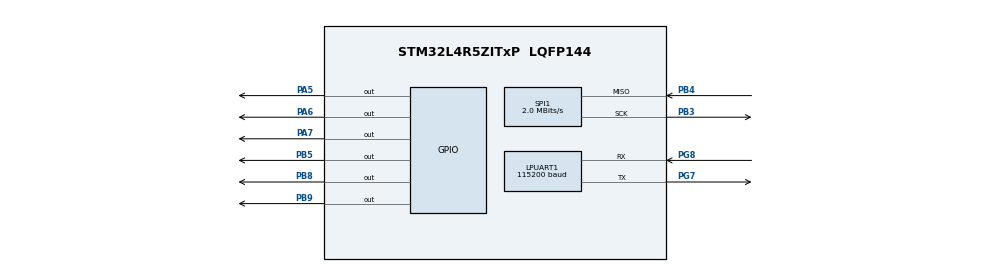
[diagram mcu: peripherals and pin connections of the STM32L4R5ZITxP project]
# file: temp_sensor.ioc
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LPUART1.BaudRate=115200
LPUART1.WordLength=UART_WORDLENGTH_8B
Mcu.Family=STM32L4
Mcu.Name=STM32L4R5ZITxP
Mcu.Package=LQFP144
NVIC.PriorityGroup=NVIC_PRIORITYGROUP_4
NVIC.TIM3_IRQn=true\:0\:0\:false\:false\:true\:true\:true\:true
PA0.Signal=S_TIM2_CH1
PA1.Signal=ADCx_IN6
PA10.Signal=USB_OTG_FS_ID
PA13\ (JTMS/SWDIO).Signal=SYS_JTMS-SWDIO
PA14\ (JTCK/SWCLK).Signal=SYS_JTCK-SWCLK
PA3.Signal=ADCx_IN8
PA4.Signal=SPI1_NSS
PA5.Signal=GPIO_Output
PA6.Signal=GPIO_Output
PA7.Signal=GPIO_Output
PA8.Signal=USB_OTG_FS_SOF
PA9.Signal=USB_OTG_FS_VBUS
PB0.Signal=S_TIM3_CH3
PB1.Signal=ADCx_IN16
PB10.Signal=S_TIM2_CH3
PB12.Signal=SAI2_FS_A
PB14.Signal=S_TIM15_CH1
PB15.Signal=SAI2_SD_A
PB2.Signal=COMP1_INP
PB3\ (JTDO/TRACESWO).Mode=RX_Only_Simplex_Unidirect_Master
PB3\ (JTDO/TRACESWO).Signal=SPI1_SCK
PB4\ (NJTRST).Mode=RX_Only_Simplex_Unidirect_Master
PB4\ (NJTRST).Signal=SPI1_MISO
PB5.Signal=GPIO_Output
PB8.Signal=GPIO_Output
PB9.Signal=GPIO_Output
PC0.Signal=ADCx_IN1
PC13.Signal=SYS_WKUP2
PC14-OSC32_IN\ (PC14).Signal=RCC_OSC32_IN
PC15-OSC32_OUT\ (PC15).Signal=RCC_OSC32_OUT
PC2.Signal=SPI2_MISO
PC4.Signal=ADCx_IN13
PC5.Signal=ADCx_IN14
PC6.Signal=SAI2_MCLK_A
PC7.Signal=S_TIM3_CH2
PC8.Signal=SDMMC1_D0
PC9.Signal=SDMMC1_D1
PD0.Signal=CAN1_RX
PD14.Signal=S_TIM4_CH3
PD15.Signal=S_TIM4_CH4
PD2.Signal=SDMMC1_CMD
PD3.Signal=USART2_CTS
PD4.Signal=USART2_RTS
PD5.Signal=USART2_TX
PD6.Signal=USART2_RX
PD8.Signal=USART3_TX
PD9.Signal=USART3_RX
PE0.Signal=S_TIM4_ETR
PE10.Signal=TIM1_CH2N
PE11.Signal=S_TIM1_CH2
PE12.Signal=TIM1_CH3N
PE13.Signal=S_TIM1_CH3
PE14.Signal=TIM1_BKIN2
PE15.Signal=TIM1_BKIN
PE2.Signal=SAI1_MCLK_A
PE3.Signal=SAI1_SD_B
PE7.Signal=S_TIM1_ETR
PE8.Signal=TIM1_CH1N
PE9.Signal=S_TIM1_CH1
PF0.Signal=I2C2_SDA
PF1.Signal=I2C2_SCL
PF2.Signal=I2C2_SMBA
PF7.Signal=SAI1_MCLK_B
PG7.Mode=Asynchronous
PG7.Signal=LPUART1_TX
PG8.Mode=Asynchronous
PG8.Signal=LPUART1_RX
ProjectManager.HeapSize=0x200
ProjectManager.StackSize=0x400
ProjectManager.TargetToolchain=STM32CubeIDE
RCC.HSE_VALUE=8000000
RCC.HSI48_VALUE=48000000
RCC.HSI_VALUE=16000000
RCC.LSE_VALUE=32768
RCC.MSI_VALUE=4000000
RCC.VCOOutputFreq_Value=32000000
SH.ADCx_IN1.0=ADC1_IN1
SH.ADCx_IN13.0=ADC1_IN13
SH.ADCx_IN14.0=ADC1_IN14
SH.ADCx_IN16.0=ADC1_IN16
SH.ADCx_IN6.0=ADC1_IN6
SH.ADCx_IN8.0=ADC1_IN8
SH.S_TIM15_CH1.0=TIM15_CH1
SH.S_TIM1_CH1.0=TIM1_CH1
SH.S_TIM1_CH2.0=TIM1_CH2
SH.S_TIM1_CH3.0=TIM1_CH3
SH.S_TIM1_ETR.0=TIM1_ETR
SH.S_TIM2_CH1.0=TIM2_CH1
SH.S_TIM2_CH3.0=TIM2_CH3
SH.S_TIM3_CH2.0=TIM3_CH2
SH.S_TIM3_CH3.0=TIM3_CH3
SH.S_TIM4_CH3.0=TIM4_CH3
SH.S_TIM4_CH4.0=TIM4_CH4
SH.S_TIM4_ETR.0=TIM4_ETR
SPI1.CalculateBaudRate=2.0 MBits/s
SPI1.DataSize=SPI_DATASIZE_16BIT
SPI1.Direction=SPI_DIRECTION_2LINES_RXONLY
SPI1.Mode=SPI_MODE_MASTER
SPI1.VirtualType=VM_MASTER
TIM3.Period=305
TIM3.Prescaler=65535
VP_TIM3_VS_ClockSourceINT.Mode=Internal
board=NUCLEO-L4R5ZI-P

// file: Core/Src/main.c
/* USER CODE BEGIN Header */
/**
  ******************************************************************************
  * @file           : main.c
  * @brief          : Main program body
  ******************************************************************************
  * @attention
  *
  * Copyright (c) 2023 STMicroelectronics.
  * All rights reserved.
  *
  * This software is licensed under terms that can be found in the LICENSE file
  * in the root directory of this software component.
  * If no LICENSE file comes with this software, it is provided AS-IS.
  *
  ******************************************************************************
  */
/* USER CODE END Header */
#include "main.h"

/* USER CODE BEGIN Includes */
#include "stdio.h"
/* USER CODE END Includes */

UART_HandleTypeDef hlpuart1;

SPI_HandleTypeDef hspi1;

TIM_HandleTypeDef htim3;

void SystemClock_Config(void);
static void MX_GPIO_Init(void);
static void MX_SPI1_Init(void);
static void MX_LPUART1_UART_Init(void);
static void MX_TIM3_Init(void);

/* USER CODE BEGIN 0 */
uint16_t read_Temperature(uint16_t GPIO_PIN) {
	uint16_t spi_buf[2];
	// Set the CS1 pin to low
	HAL_GPIO_WritePin(GPIOB, GPIO_PIN, GPIO_PIN_RESET);

	// Receive the data
	HAL_SPI_Receive(&hspi1, spi_buf, 2, 100);

	// Set the CS pin back to high
	HAL_GPIO_WritePin(GPIOB, GPIO_PIN, GPIO_PIN_SET);

	// delay for a bit
//	HAL_Delay(1000);

	// handle the data
	// spi_buf[0] contains the first 16 bits of data
	// spi_buf[1] contains the last 16 bits of data
	uint16_t external_temp = 0;
	uint16_t internal_temp = 0;
	uint8_t fault = 0;
	external_temp |= (spi_buf[0] >> 2) & 0xFFFF; // keep all data values
	internal_temp |= (spi_buf[1] >> 4) & 0xFFFF; // keep all data values
	fault |= spi_buf[0] & 0x01; // only want the LSB
	printf("External Temperature of %d: %d \n\r", GPIO_PIN, (external_temp/4));
	printf("Internal Temperature of %d: %d \n\r", GPIO_PIN, (internal_temp/16));
	if(fault) {
		printf("ERROR \n\r");
	}

	// reset spi_buffer
	spi_buf[0] = 0;
	spi_buf[1] = 0;

	return external_temp/4;
}
/* USER CODE END 0 */

int main(void)
{
  /* USER CODE BEGIN 1 */
//uint16_t timer_val;

  /* USER CODE END 1 */

  /* MCU Configuration--------------------------------------------------------*/

  /* Reset of all peripherals, Initializes the Flash interface and the Systick. */
  HAL_Init();

  /* Configure the system clock */
  SystemClock_Config();

  /* Initialize all configured peripherals */
  MX_GPIO_Init();
  MX_SPI1_Init();
  MX_LPUART1_UART_Init();
  MX_TIM3_Init();
  /* USER CODE BEGIN 2 */

  // CS for all sensors should be high
  HAL_GPIO_WritePin(GPIOB, GPIO_PIN_5, GPIO_PIN_SET);
  HAL_GPIO_WritePin(GPIOB, GPIO_PIN_8, GPIO_PIN_SET);
  HAL_GPIO_WritePin(GPIOB, GPIO_PIN_9, GPIO_PIN_SET);

  // Start Timer
   HAL_TIM_Base_Start_IT(&htim3);

//  htim4->State = HAL_TIM_STATE_READY;

  /* USER CODE END 2 */

  /* Infinite loop */
  while (1)
  {

    /* USER CODE BEGIN 3 */
//	timer_val = __HAL_TIM_GET_COUNTER(&htim3);
//	printf("Timer: %d \n\r", timer_val);

  }
  /* USER CODE END 3 */
}

void SystemClock_Config(void)
{
  RCC_OscInitTypeDef RCC_OscInitStruct = {0};
  RCC_ClkInitTypeDef RCC_ClkInitStruct = {0};

  /** Configure the main internal regulator output voltage
  */
  if (HAL_PWREx_ControlVoltageScaling(PWR_REGULATOR_VOLTAGE_SCALE1) != HAL_OK)
  {
    Error_Handler();
  }

  /** Initializes the RCC Oscillators according to the specified parameters
  * in the RCC_OscInitTypeDef structure.
  */
  RCC_OscInitStruct.OscillatorType = RCC_OSCILLATORTYPE_MSI;
  RCC_OscInitStruct.MSIState = RCC_MSI_ON;
  RCC_OscInitStruct.MSICalibrationValue = 0;
  RCC_OscInitStruct.MSIClockRange = RCC_MSIRANGE_6;
  RCC_OscInitStruct.PLL.PLLState = RCC_PLL_NONE;
  if (HAL_RCC_OscConfig(&RCC_OscInitStruct) != HAL_OK)
  {
    Error_Handler();
  }

  /** Initializes the CPU, AHB and APB buses clocks
  */
  RCC_ClkInitStruct.ClockType = RCC_CLOCKTYPE_HCLK|RCC_CLOCKTYPE_SYSCLK
                              |RCC_CLOCKTYPE_PCLK1|RCC_CLOCKTYPE_PCLK2;
  RCC_ClkInitStruct.SYSCLKSource = RCC_SYSCLKSOURCE_MSI;
  RCC_ClkInitStruct.AHBCLKDivider = RCC_SYSCLK_DIV1;
  RCC_ClkInitStruct.APB1CLKDivider = RCC_HCLK_DIV1;
  RCC_ClkInitStruct.APB2CLKDivider = RCC_HCLK_DIV1;

  if (HAL_RCC_ClockConfig(&RCC_ClkInitStruct, FLASH_LATENCY_0) != HAL_OK)
  {
    Error_Handler();
  }
}

static void MX_LPUART1_UART_Init(void)
{

  hlpuart1.Instance = LPUART1;
  hlpuart1.Init.BaudRate = 115200;
  hlpuart1.Init.WordLength = UART_WORDLENGTH_8B;
  hlpuart1.Init.StopBits = UART_STOPBITS_1;
  hlpuart1.Init.Parity = UART_PARITY_NONE;
  hlpuart1.Init.Mode = UART_MODE_TX_RX;
  hlpuart1.Init.HwFlowCtl = UART_HWCONTROL_NONE;
  hlpuart1.Init.OneBitSampling = UART_ONE_BIT_SAMPLE_DISABLE;
  hlpuart1.Init.ClockPrescaler = UART_PRESCALER_DIV1;
  hlpuart1.AdvancedInit.AdvFeatureInit = UART_ADVFEATURE_NO_INIT;
  hlpuart1.FifoMode = UART_FIFOMODE_DISABLE;
  if (HAL_UART_Init(&hlpuart1) != HAL_OK)
  {
    Error_Handler();
  }
  if (HAL_UARTEx_SetTxFifoThreshold(&hlpuart1, UART_TXFIFO_THRESHOLD_1_8) != HAL_OK)
  {
    Error_Handler();
  }
  if (HAL_UARTEx_SetRxFifoThreshold(&hlpuart1, UART_RXFIFO_THRESHOLD_1_8) != HAL_OK)
  {
    Error_Handler();
  }
  if (HAL_UARTEx_DisableFifoMode(&hlpuart1) != HAL_OK)
  {
    Error_Handler();
  }

}

static void MX_SPI1_Init(void)
{

  /* SPI1 parameter configuration*/
  hspi1.Instance = SPI1;
  hspi1.Init.Mode = SPI_MODE_MASTER;
  hspi1.Init.Direction = SPI_DIRECTION_2LINES_RXONLY;
  hspi1.Init.DataSize = SPI_DATASIZE_16BIT;
  hspi1.Init.CLKPolarity = SPI_POLARITY_LOW;
  hspi1.Init.CLKPhase = SPI_PHASE_1EDGE;
  hspi1.Init.NSS = SPI_NSS_SOFT;
  hspi1.Init.BaudRatePrescaler = SPI_BAUDRATEPRESCALER_2;
  hspi1.Init.FirstBit = SPI_FIRSTBIT_MSB;
  hspi1.Init.TIMode = SPI_TIMODE_DISABLE;
  hspi1.Init.CRCCalculation = SPI_CRCCALCULATION_DISABLE;
  hspi1.Init.CRCPolynomial = 7;
  hspi1.Init.CRCLength = SPI_CRC_LENGTH_DATASIZE;
  hspi1.Init.NSSPMode = SPI_NSS_PULSE_ENABLE;
  if (HAL_SPI_Init(&hspi1) != HAL_OK)
  {
    Error_Handler();
  }

}

static void MX_TIM3_Init(void)
{

  TIM_ClockConfigTypeDef sClockSourceConfig = {0};
  TIM_MasterConfigTypeDef sMasterConfig = {0};

  htim3.Instance = TIM3;
  htim3.Init.Prescaler = 65535;
  htim3.Init.CounterMode = TIM_COUNTERMODE_UP;
  htim3.Init.Period = 305;
  htim3.Init.ClockDivision = TIM_CLOCKDIVISION_DIV1;
  htim3.Init.AutoReloadPreload = TIM_AUTORELOAD_PRELOAD_DISABLE;
  if (HAL_TIM_Base_Init(&htim3) != HAL_OK)
  {
    Error_Handler();
  }
  sClockSourceConfig.ClockSource = TIM_CLOCKSOURCE_INTERNAL;
  if (HAL_TIM_ConfigClockSource(&htim3, &sClockSourceConfig) != HAL_OK)
  {
    Error_Handler();
  }
  sMasterConfig.MasterOutputTrigger = TIM_TRGO_RESET;
  sMasterConfig.MasterSlaveMode = TIM_MASTERSLAVEMODE_DISABLE;
  if (HAL_TIMEx_MasterConfigSynchronization(&htim3, &sMasterConfig) != HAL_OK)
  {
    Error_Handler();
  }

}

static void MX_GPIO_Init(void)
{
  GPIO_InitTypeDef GPIO_InitStruct = {0};

  /* GPIO Ports Clock Enable */
  __HAL_RCC_GPIOE_CLK_ENABLE();
  __HAL_RCC_GPIOC_CLK_ENABLE();
  __HAL_RCC_GPIOF_CLK_ENABLE();
  __HAL_RCC_GPIOA_CLK_ENABLE();
  __HAL_RCC_GPIOB_CLK_ENABLE();
  __HAL_RCC_GPIOD_CLK_ENABLE();
  __HAL_RCC_GPIOG_CLK_ENABLE();
  HAL_PWREx_EnableVddIO2();

  /*Configure GPIO pin Output Level */
  HAL_GPIO_WritePin(GPIOA, GPIO_PIN_5|GPIO_PIN_6|GPIO_PIN_7, GPIO_PIN_RESET);

  /*Configure GPIO pin Output Level */
  HAL_GPIO_WritePin(GPIOB, GPIO_PIN_5|GPIO_PIN_8|GPIO_PIN_9, GPIO_PIN_RESET);

  /*Configure GPIO pins : PE2 PE3 */
  GPIO_InitStruct.Pin = GPIO_PIN_2|GPIO_PIN_3;
  GPIO_InitStruct.Mode = GPIO_MODE_AF_PP;
  GPIO_InitStruct.Pull = GPIO_NOPULL;
  GPIO_InitStruct.Speed = GPIO_SPEED_FREQ_LOW;
  GPIO_InitStruct.Alternate = GPIO_AF13_SAI1;
  HAL_GPIO_Init(GPIOE, &GPIO_InitStruct);

  /*Configure GPIO pins : PF0 PF1 PF2 */
  GPIO_InitStruct.Pin = GPIO_PIN_0|GPIO_PIN_1|GPIO_PIN_2;
  GPIO_InitStruct.Mode = GPIO_MODE_AF_OD;
  GPIO_InitStruct.Pull = GPIO_NOPULL;
  GPIO_InitStruct.Speed = GPIO_SPEED_FREQ_VERY_HIGH;
  GPIO_InitStruct.Alternate = GPIO_AF4_I2C2;
  HAL_GPIO_Init(GPIOF, &GPIO_InitStruct);

  /*Configure GPIO pin : PF7 */
  GPIO_InitStruct.Pin = GPIO_PIN_7;
  GPIO_InitStruct.Mode = GPIO_MODE_AF_PP;
  GPIO_InitStruct.Pull = GPIO_NOPULL;
  GPIO_InitStruct.Speed = GPIO_SPEED_FREQ_LOW;
  GPIO_InitStruct.Alternate = GPIO_AF13_SAI1;
  HAL_GPIO_Init(GPIOF, &GPIO_InitStruct);

  /*Configure GPIO pins : PC0 PC4 PC5 */
  GPIO_InitStruct.Pin = GPIO_PIN_0|GPIO_PIN_4|GPIO_PIN_5;
  GPIO_InitStruct.Mode = GPIO_MODE_ANALOG_ADC_CONTROL;
  GPIO_InitStruct.Pull = GPIO_NOPULL;
  HAL_GPIO_Init(GPIOC, &GPIO_InitStruct);

  /*Configure GPIO pin : PC2 */
  GPIO_InitStruct.Pin = GPIO_PIN_2;
  GPIO_InitStruct.Mode = GPIO_MODE_AF_PP;
  GPIO_InitStruct.Pull = GPIO_NOPULL;
  GPIO_InitStruct.Speed = GPIO_SPEED_FREQ_VERY_HIGH;
  GPIO_InitStruct.Alternate = GPIO_AF5_SPI2;
  HAL_GPIO_Init(GPIOC, &GPIO_InitStruct);

  /*Configure GPIO pin : PA0 */
  GPIO_InitStruct.Pin = GPIO_PIN_0;
  GPIO_InitStruct.Mode = GPIO_MODE_AF_PP;
  GPIO_InitStruct.Pull = GPIO_NOPULL;
  GPIO_InitStruct.Speed = GPIO_SPEED_FREQ_LOW;
  GPIO_InitStruct.Alternate = GPIO_AF1_TIM2;
  HAL_GPIO_Init(GPIOA, &GPIO_InitStruct);

  /*Configure GPIO pins : PA1 PA3 */
  GPIO_InitStruct.Pin = GPIO_PIN_1|GPIO_PIN_3;
  GPIO_InitStruct.Mode = GPIO_MODE_ANALOG_ADC_CONTROL;
  GPIO_InitStruct.Pull = GPIO_NOPULL;
  HAL_GPIO_Init(GPIOA, &GPIO_InitStruct);

  /*Configure GPIO pins : PA5 PA6 PA7 */
  GPIO_InitStruct.Pin = GPIO_PIN_5|GPIO_PIN_6|GPIO_PIN_7;
  GPIO_InitStruct.Mode = GPIO_MODE_OUTPUT_PP;
  GPIO_InitStruct.Pull = GPIO_NOPULL;
  GPIO_InitStruct.Speed = GPIO_SPEED_FREQ_LOW;
  HAL_GPIO_Init(GPIOA, &GPIO_InitStruct);

  /*Configure GPIO pin : PB1 */
  GPIO_InitStruct.Pin = GPIO_PIN_1;
  GPIO_InitStruct.Mode = GPIO_MODE_ANALOG_ADC_CONTROL;
  GPIO_InitStruct.Pull = GPIO_NOPULL;
  HAL_GPIO_Init(GPIOB, &GPIO_InitStruct);

  /*Configure GPIO pin : PB2 */
  GPIO_InitStruct.Pin = GPIO_PIN_2;
  GPIO_InitStruct.Mode = GPIO_MODE_ANALOG;
  GPIO_InitStruct.Pull = GPIO_NOPULL;
  HAL_GPIO_Init(GPIOB, &GPIO_InitStruct);

  /*Configure GPIO pins : PE7 PE8 PE9 PE10
                           PE11 PE12 PE13 */
  GPIO_InitStruct.Pin = GPIO_PIN_7|GPIO_PIN_8|GPIO_PIN_9|GPIO_PIN_10
                          |GPIO_PIN_11|GPIO_PIN_12|GPIO_PIN_13;
  GPIO_InitStruct.Mode = GPIO_MODE_AF_PP;
  GPIO_InitStruct.Pull = GPIO_NOPULL;
  GPIO_InitStruct.Speed = GPIO_SPEED_FREQ_LOW;
  GPIO_InitStruct.Alternate = GPIO_AF1_TIM1;
  HAL_GPIO_Init(GPIOE, &GPIO_InitStruct);

  /*Configure GPIO pins : PE14 PE15 */
  GPIO_InitStruct.Pin = GPIO_PIN_14|GPIO_PIN_15;
  GPIO_InitStruct.Mode = GPIO_MODE_AF_PP;
  GPIO_InitStruct.Pull = GPIO_NOPULL;
  GPIO_InitStruct.Speed = GPIO_SPEED_FREQ_LOW;
  GPIO_InitStruct.Alternate = GPIO_AF3_TIM1_COMP1;
  HAL_GPIO_Init(GPIOE, &GPIO_InitStruct);

  /*Configure GPIO pin : PB10 */
  GPIO_InitStruct.Pin = GPIO_PIN_10;
  GPIO_InitStruct.Mode = GPIO_MODE_AF_PP;
  GPIO_InitStruct.Pull = GPIO_NOPULL;
  GPIO_InitStruct.Speed = GPIO_SPEED_FREQ_LOW;
  GPIO_InitStruct.Alternate = GPIO_AF1_TIM2;
  HAL_GPIO_Init(GPIOB, &GPIO_InitStruct);

  /*Configure GPIO pins : PB12 PB15 */
  GPIO_InitStruct.Pin = GPIO_PIN_12|GPIO_PIN_15;
  GPIO_InitStruct.Mode = GPIO_MODE_AF_PP;
  GPIO_InitStruct.Pull = GPIO_NOPULL;
  GPIO_InitStruct.Speed = GPIO_SPEED_FREQ_LOW;
  GPIO_InitStruct.Alternate = GPIO_AF13_SAI2;
  HAL_GPIO_Init(GPIOB, &GPIO_InitStruct);

  /*Configure GPIO pin : PB14 */
  GPIO_InitStruct.Pin = GPIO_PIN_14;
  GPIO_InitStruct.Mode = GPIO_MODE_AF_PP;
  GPIO_InitStruct.Pull = GPIO_NOPULL;
  GPIO_InitStruct.Speed = GPIO_SPEED_FREQ_LOW;
  GPIO_InitStruct.Alternate = GPIO_AF14_TIM15;
  HAL_GPIO_Init(GPIOB, &GPIO_InitStruct);

  /*Configure GPIO pins : PD8 PD9 */
  GPIO_InitStruct.Pin = GPIO_PIN_8|GPIO_PIN_9;
  GPIO_InitStruct.Mode = GPIO_MODE_AF_PP;
  GPIO_InitStruct.Pull = GPIO_NOPULL;
  GPIO_InitStruct.Speed = GPIO_SPEED_FREQ_VERY_HIGH;
  GPIO_InitStruct.Alternate = GPIO_AF7_USART3;
  HAL_GPIO_Init(GPIOD, &GPIO_InitStruct);

  /*Configure GPIO pins : PD14 PD15 */
  GPIO_InitStruct.Pin = GPIO_PIN_14|GPIO_PIN_15;
  GPIO_InitStruct.Mode = GPIO_MODE_AF_PP;
  GPIO_InitStruct.Pull = GPIO_NOPULL;
  GPIO_InitStruct.Speed = GPIO_SPEED_FREQ_LOW;
  GPIO_InitStruct.Alternate = GPIO_AF2_TIM4;
  HAL_GPIO_Init(GPIOD, &GPIO_InitStruct);

  /*Configure GPIO pin : PC6 */
  GPIO_InitStruct.Pin = GPIO_PIN_6;
  GPIO_InitStruct.Mode = GPIO_MODE_AF_PP;
  GPIO_InitStruct.Pull = GPIO_NOPULL;
  GPIO_InitStruct.Speed = GPIO_SPEED_FREQ_LOW;
  GPIO_InitStruct.Alternate = GPIO_AF13_SAI2;
  HAL_GPIO_Init(GPIOC, &GPIO_InitStruct);

  /*Configure GPIO pins : PC8 PC9 */
  GPIO_InitStruct.Pin = GPIO_PIN_8|GPIO_PIN_9;
  GPIO_InitStruct.Mode = GPIO_MODE_AF_PP;
  GPIO_InitStruct.Pull = GPIO_NOPULL;
  GPIO_InitStruct.Speed = GPIO_SPEED_FREQ_VERY_HIGH;
  GPIO_InitStruct.Alternate = GPIO_AF12_SDMMC1;
  HAL_GPIO_Init(GPIOC, &GPIO_InitStruct);

  /*Configure GPIO pins : PA8 PA10 */
  GPIO_InitStruct.Pin = GPIO_PIN_8|GPIO_PIN_10;
  GPIO_InitStruct.Mode = GPIO_MODE_AF_PP;
  GPIO_InitStruct.Pull = GPIO_NOPULL;
  GPIO_InitStruct.Speed = GPIO_SPEED_FREQ_VERY_HIGH;
  GPIO_InitStruct.Alternate = GPIO_AF10_OTG_FS;
  HAL_GPIO_Init(GPIOA, &GPIO_InitStruct);

  /*Configure GPIO pin : PA9 */
  GPIO_InitStruct.Pin = GPIO_PIN_9;
  GPIO_InitStruct.Mode = GPIO_MODE_INPUT;
  GPIO_InitStruct.Pull = GPIO_NOPULL;
  HAL_GPIO_Init(GPIOA, &GPIO_InitStruct);

  /*Configure GPIO pin : PD0 */
  GPIO_InitStruct.Pin = GPIO_PIN_0;
  GPIO_InitStruct.Mode = GPIO_MODE_AF_PP;
  GPIO_InitStruct.Pull = GPIO_NOPULL;
  GPIO_InitStruct.Speed = GPIO_SPEED_FREQ_VERY_HIGH;
  GPIO_InitStruct.Alternate = GPIO_AF9_CAN1;
  HAL_GPIO_Init(GPIOD, &GPIO_InitStruct);

  /*Configure GPIO pin : PD2 */
  GPIO_InitStruct.Pin = GPIO_PIN_2;
  GPIO_InitStruct.Mode = GPIO_MODE_AF_PP;
  GPIO_InitStruct.Pull = GPIO_NOPULL;
  GPIO_InitStruct.Speed = GPIO_SPEED_FREQ_VERY_HIGH;
  GPIO_InitStruct.Alternate = GPIO_AF12_SDMMC1;
  HAL_GPIO_Init(GPIOD, &GPIO_InitStruct);

  /*Configure GPIO pins : PD3 PD4 PD5 PD6 */
  GPIO_InitStruct.Pin = GPIO_PIN_3|GPIO_PIN_4|GPIO_PIN_5|GPIO_PIN_6;
  GPIO_InitStruct.Mode = GPIO_MODE_AF_PP;
  GPIO_InitStruct.Pull = GPIO_NOPULL;
  GPIO_InitStruct.Speed = GPIO_SPEED_FREQ_VERY_HIGH;
  GPIO_InitStruct.Alternate = GPIO_AF7_USART2;
  HAL_GPIO_Init(GPIOD, &GPIO_InitStruct);

  /*Configure GPIO pins : PB5 PB8 PB9 */
  GPIO_InitStruct.Pin = GPIO_PIN_5|GPIO_PIN_8|GPIO_PIN_9;
  GPIO_InitStruct.Mode = GPIO_MODE_OUTPUT_PP;
  GPIO_InitStruct.Pull = GPIO_NOPULL;
  GPIO_InitStruct.Speed = GPIO_SPEED_FREQ_LOW;
  HAL_GPIO_Init(GPIOB, &GPIO_InitStruct);

  /*Configure GPIO pin : PE0 */
  GPIO_InitStruct.Pin = GPIO_PIN_0;
  GPIO_InitStruct.Mode = GPIO_MODE_AF_PP;
  GPIO_InitStruct.Pull = GPIO_NOPULL;
  GPIO_InitStruct.Speed = GPIO_SPEED_FREQ_LOW;
  GPIO_InitStruct.Alternate = GPIO_AF2_TIM4;
  HAL_GPIO_Init(GPIOE, &GPIO_InitStruct);

}

/* USER CODE BEGIN 4 */
#ifdef __GNUC__
#define PUTCHAR_PROTOTYPE int __io_putchar(int ch)
#else
  #define PUTCHAR_PROTOTYPE int fputc(int ch, FILE *f)
#endif /* __GNUC__ */
PUTCHAR_PROTOTYPE
{
  HAL_UART_Transmit(&hlpuart1, (uint8_t *)&ch, 1, 0xFFFF);
  return ch;
}

/* USER CODE END 4 */

void Error_Handler(void)
{
  __disable_irq();
  while (1)
  {
  }
}
